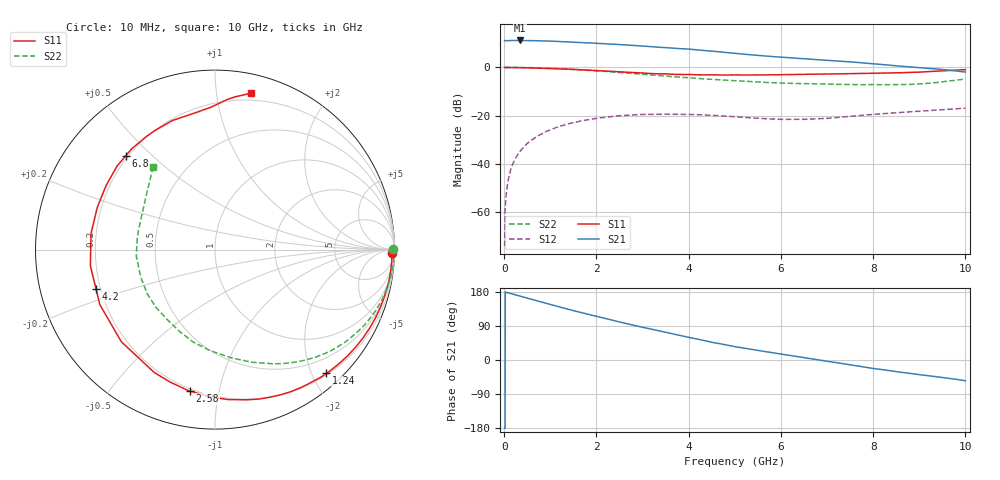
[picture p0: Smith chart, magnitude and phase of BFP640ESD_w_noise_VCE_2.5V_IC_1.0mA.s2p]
! Infineon Technologies  Discrete & RF Semiconductors
! BFP640ESD
! VCE =  2.5 V,  IC =  1.0 mA
! Common Emitter S-Parameters:  Jan 2016
# GHz  S  MA  R  50
!  f  S11  S21  S12  S22
! GHz  MAG  ANG  MAG  ANG  MAG  ANG  MAG  ANG
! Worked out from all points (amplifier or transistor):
!   233 points, 10 MHz to 10 GHz, reference 50 ohm
!   highest |S21| = 11.1 dB at 340 MHz (marker M1)
!   |S21| within 3 dB of that: start of sweep to 3.541 GHz
!   unconditionally stable (mu >= 1): 5.442 GHz to 9.325 GHz
!   at 200 MHz: K = 0.01, MSG = 25.3 dB, |S12| = -39.5 dB
!   at 1.74 GHz: K = 0.18, MSG = 16.1 dB, |S12| = -21.9 dB
!   at 10 GHz: K = 0.67, MSG = 7.5 dB, |S12| = -16.9 dB
!   lowest NFmin = 0.63 dB at 450 MHz
!   S11 on the Smith chart (normalised r, x): 10 MHz: 46, -76; 1.24 GHz: 0.22, -2.23; 2.58 GHz: 0.19, -0.82; 4.2 GHz: 0.18, -0.16; 6.8 GHz: 0.19, +0.42; 10 GHz: 0.14, +1.25
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0.01  0.9885 -1.1  3.575 -180.0  0.0002 -75.9  0.9942 0.1
0.02  0.9849 -1.0  3.54 -179.9  0.0012 88.9  1 -0.3
0.045  0.9856 -2.0  3.549 178.5  0.0024 90.7  0.9988 -1.0
0.07  0.9862 -2.9  3.559 177.7  0.0037 88.9  0.9984 -1.6
0.155  0.9864 -5.9  3.584 175.0  0.0083 85.8  0.9973 -3.5
0.34  0.9819 -13.1  3.591 168.8  0.0181 81.2  0.9927 -7.8
0.7  0.9662 -27.0  3.557 156.6  0.0366 71.8  0.9738 -15.8
1.24  0.9279 -48.0  3.414 138.8  0.0617 57.9  0.9287 -27.6
1.68  0.889 -65.0  3.262 124.8  0.0781 47.1  0.8816 -36.7
2.2  0.8389 -85.0  3.067 109.3  0.0931 35.6  0.8207 -46.9
2.58  0.8 -100.1  2.923 98.1  0.1009 27.4  0.7708 -54.4
3  0.7638 -116.3  2.755 86.4  0.1059 19.1  0.7177 -62.5
3.4  0.7317 -131.5  2.588 75.7  0.107 12.3  0.6697 -70.0
4  0.7111 -154.4  2.38 59.8  0.1065 3.6  0.6082 -81.8
4.2  0.6983 -161.6  2.283 54.9  0.1046 1.2  0.5876 -86.0
4.5  0.7003 -172.6  2.171 46.8  0.1022 -2.6  0.5632 -92.9
5.1  0.6941 170.0  1.908 33.3  0.0937 -6.5  0.5213 -105.3
6  0.7041 149.4  1.621 15.6  0.0838 -5.1  0.4722 -124.1
6.8  0.7215 133.5  1.436 0.6  0.0863 0.3  0.4523 -142.5
7.6  0.7428 116.9  1.274 -14.4  0.0985 3.2  0.4386 -162.9
8.4  0.764 100.9  1.095 -29.0  0.1131 0.8  0.4373 172.6
10  0.8952 76.9  0.798 -54.7  0.1426 -8.8  0.574 126.9
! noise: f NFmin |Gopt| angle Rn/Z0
0.45  0.63  0.83  11  0.4
0.9  0.7  0.75  24  0.39
1.9  0.92  0.61  55  0.31
2.4  1.1  0.54  74  0.29
5.5  1.99  0.47  -156  0.25
